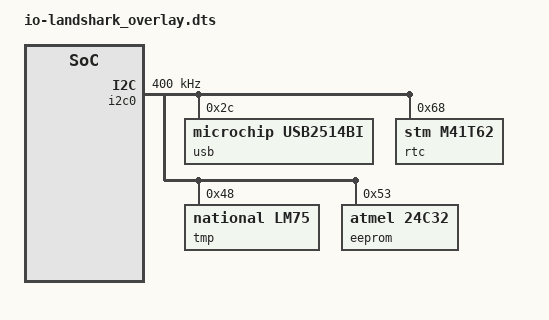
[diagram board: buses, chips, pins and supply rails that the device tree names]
/dts-v1/;
/plugin/;

&i2c0 {
    status = "okay";
    clock-frequency = <400000>;

    usb@2c {
        compatible = "microchip,usb2514bi";
        reg = <0x2C>;
    };

    rtc@68 {
        compatible = "stm,m41t62";
        reg = <0x68>;
    };

    tmp@48 {
        compatible = "national,lm75";
        reg = <0x48>;
    };

    eeprom@53 {
        compatible = "atmel,24c32";
        reg = <0x53>;
    };
};

&i2c1 {
    status = "disabled";
};

